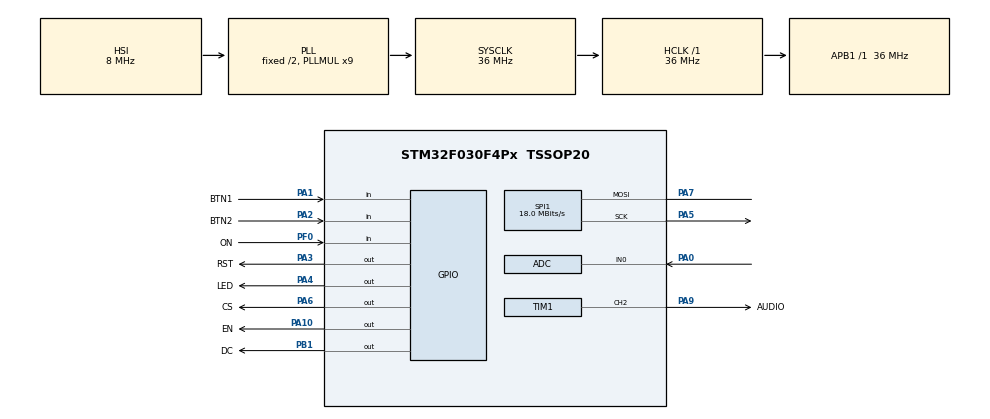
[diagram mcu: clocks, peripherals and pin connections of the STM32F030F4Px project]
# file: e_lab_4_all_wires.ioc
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Mcu.Family=STM32F0
Mcu.Name=STM32F030F4Px
Mcu.Package=TSSOP20
NVIC.TIM14_IRQn=true\:0\:0\:false\:false\:true\:true\:true\:true
NVIC.TIM16_IRQn=true\:0\:0\:false\:false\:true\:true\:true\:true
NVIC.TIM17_IRQn=true\:0\:0\:false\:false\:true\:true\:true\:true
NVIC.TIM3_IRQn=true\:0\:0\:false\:false\:true\:true\:true\:true
PA0.Mode=IN0
PA0.Signal=ADC_IN0
PA1.GPIO_Label=BTN1
PA1.Signal=GPIO_Input
PA10.GPIO_Label=EN
PA10.Signal=GPIO_Output
PA13.Mode=Serial_Wire
PA13.Signal=SYS_SWDIO
PA14.Mode=Serial_Wire
PA14.Signal=SYS_SWCLK
PA2.GPIO_Label=BTN2
PA2.Signal=GPIO_Input
PA3.GPIO_Label=RST
PA3.Signal=GPIO_Output
PA4.GPIO_Label=LED
PA4.Signal=GPIO_Output
PA5.Mode=Simplex_Bidirectional_Master
PA5.Signal=SPI1_SCK
PA6.GPIO_Label=CS
PA6.Signal=GPIO_Output
PA7.Mode=Simplex_Bidirectional_Master
PA7.Signal=SPI1_MOSI
PA9.GPIO_Label=AUDIO
PA9.Signal=S_TIM1_CH2
PB1.GPIO_Label=DC
PB1.Signal=GPIO_Output
PF0-OSC_IN.GPIO_Label=ON
PF0-OSC_IN.Signal=GPIO_Input
ProjectManager.HeapSize=0x200
ProjectManager.StackSize=0x400
ProjectManager.TargetToolchain=STM32CubeIDE
RCC.AHBFreq_Value=36000000
RCC.APB1Freq_Value=36000000
RCC.APB1TimFreq_Value=36000000
RCC.HCLKFreq_Value=36000000
RCC.PLLMUL=RCC_PLL_MUL9
RCC.SYSCLKFreq_VALUE=36000000
RCC.SYSCLKSource=RCC_SYSCLKSOURCE_PLLCLK
SH.S_TIM1_CH2.0=TIM1_CH2,PWM Generation2 CH2
SPI1.BaudRatePrescaler=SPI_BAUDRATEPRESCALER_2
SPI1.CalculateBaudRate=18.0 MBits/s
SPI1.DataSize=SPI_DATASIZE_8BIT
SPI1.Direction=SPI_DIRECTION_1LINE
SPI1.Mode=SPI_MODE_MASTER
SPI1.VirtualType=VM_MASTER
TIM1.Channel-PWM\ Generation2\ CH2=TIM_CHANNEL_2
TIM1.Period=10
TIM1.Prescaler=3199
TIM1.Pulse-PWM\ Generation2\ CH2=4
TIM14.Period=10
TIM14.Prescaler=3199
TIM16.Period=10000
TIM16.Prescaler=3199
TIM17.Period=1000
TIM17.Prescaler=3199
TIM3.Period=10000
TIM3.Prescaler=3199
VP_TIM14_VS_ClockSourceINT.Mode=Enable_Timer
VP_TIM16_VS_ClockSourceINT.Mode=Enable_Timer
VP_TIM17_VS_ClockSourceINT.Mode=Enable_Timer
VP_TIM1_VS_ClockSourceINT.Mode=Internal
VP_TIM3_VS_ClockSourceINT.Mode=Internal
board=custom

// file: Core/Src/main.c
/* USER CODE BEGIN Header */
/**
  ******************************************************************************
  * @file           : main.c
  * @brief          : Main program body
  ******************************************************************************
  * @attention
  *
  * Copyright (c) 2024 STMicroelectronics.
  * All rights reserved.
  *
  * This software is licensed under terms that can be found in the LICENSE file
  * in the root directory of this software component.
  * If no LICENSE file comes with this software, it is provided AS-IS.
  *
  ******************************************************************************
  */
/* USER CODE END Header */
#include "main.h"

/* USER CODE BEGIN Includes */

#include <stdbool.h>
#include "ILI9341_STM32_Driver.h"

#include "ILI9341_GFX.h"

/* USER CODE END Includes */

ADC_HandleTypeDef hadc;

SPI_HandleTypeDef hspi1;

TIM_HandleTypeDef htim1;
TIM_HandleTypeDef htim3;
TIM_HandleTypeDef htim14;
TIM_HandleTypeDef htim16;
TIM_HandleTypeDef htim17;

/* USER CODE BEGIN PV */
/* Private variables ---------------------------------------------------------*/

enum MainModes {WATCH, GAME};
enum ClockModes {NORMAL, SET_TIME, SET_ALARM};
enum Timeset {SET_MINUTES, SET_HOURS};
enum GameModes {START, GAMING, GAME_OVER, GAME_WIN};
/* USER CODE END PV */

void SystemClock_Config(void);
static void MX_GPIO_Init(void);
static void MX_SPI1_Init(void);
static void MX_ADC_Init(void);
static void MX_TIM1_Init(void);
static void MX_TIM3_Init(void);
static void MX_TIM14_Init(void);
static void MX_TIM16_Init(void);
static void MX_TIM17_Init(void);
/* USER CODE BEGIN PFP */
/* Private function prototypes -----------------------------------------------*/

/* USER CODE END PFP */

/* USER CODE BEGIN 0 */

// Set time defines
#define LOOP_LIMIT 4

// Boder defines
#define LEFT_BORDER 10
#define RIGHT_BORDER 230
#define TOP_BORDER 30
#define TOP_BORDER_HEIGHT 10

// Platform defines
#define PLATFORM_LINE 270
#define DEFAULT_PLATFORM_DIRECTION 7
#define PLATFORM_LINE_THICKNESS 1

// Block defines
#define TOP_ROW    60
#define BOTTOM_ROW 140
#define LEFT_COLUMN LEFT_BORDER
#define RIGHT_COLUMN RIGHT_BORDER

#define ROW_HEIGHT 20
#define COLUMN_WIDTH 44

#define N_ROWS ((BOTTOM_ROW - TOP_ROW) / ROW_HEIGHT)
#define N_COLS ((RIGHT_COLUMN - LEFT_COLUMN) / COLUMN_WIDTH)

#define BLOCK_LINE_THICKNESS 1
#define N_LEVELS 3

// Battery defines
uint16_t battery_thresholds[3] = {1986, 2020, 3000};
uint8_t battery_level;

// Game block states
bool block_states [N_LEVELS][N_COLS*N_ROWS] = {{1,1,1,1,1, 1,1,1,1,1, 1,1,1,1,1, 1,1,1,1,1},
											   {0,1,0,1,0, 1,1,1,1,1, 0,1,1,1,0, 0,0,1,0,0},
											   {1,0,0,0,1, 1,0,0,0,1, 1,1,0,1,1, 1,1,1,1,1}};
//bool block_states [N_LEVELS][N_COLS*N_ROWS] = {{0,0,0,0,0, 0,0,0,0,0, 0,1,0,0,0, 0,0,0,0,0},
//											   {0,1,0,0,0, 0,0,0,0,0, 0,0,0,0,0, 0,0,0,0,0},
//											   {1,0,0,0,0, 0,0,0,0,0, 0,0,0,0,0, 0,0,0,0,0}};
bool current_block_states [N_COLS*N_ROWS];

int RowColors [] = {YELLOW, CYAN, PINK, GREEN};

struct time current_time = {{1,1,1,1,1,1},{0, 0, 0, 0, 0, 0}};
struct time alarm_time = {{1,1,1,1,1,1}, {0, 0, 0, 0, 1, 0}};
struct time *time_to_set;

// Main state machine
uint8_t current_main_state;
uint8_t next_main_state;

// Button debouncing states
bool btn_1_is_debounced;
bool btn_2_is_debounced;

// Clock state machine
uint8_t current_clock_state;
uint8_t next_clock_state;

// Game state machine
uint8_t current_game_state;
uint8_t next_game_state;

// Set values state machine
uint8_t current_set_state;
uint8_t next_set_state;
uint8_t n_loops = 0;

// Blink things
bool blink = 0;

// Game ball
int16_t ball_position[2] = {120,160};
int8_t ball_direction[2] = {0,0};
uint8_t ball_size = 4;

// Platform
uint8_t platform_position = 100;
int8_t platform_direction = 0;
uint8_t platform_width = 40;
uint8_t platform_height = 10;
uint8_t previously_moved_right = 0;
uint8_t previously_moved_left = 0;

// Game variables
int8_t hp = 0;
uint16_t score = 0;
uint8_t level = 0;
bool ball_hit_something = 0;

uint8_t prev_battery_level = 0;
uint8_t new_battery_level = 0;

void process_battery(){
	  // Check battery status
	  HAL_ADC_Start(&hadc);
	  HAL_ADC_PollForConversion(&hadc, HAL_MAX_DELAY);
	  uint16_t battery_value = HAL_ADC_GetValue(&hadc);

	  // Find the correct battery level
	  new_battery_level = 0;
	  for(uint8_t i = 0; i < 3; i++){
		  if (battery_value > battery_thresholds[i]) new_battery_level++;
	  }

	  // Print the new battery level
	  if(prev_battery_level != new_battery_level && current_main_state == WATCH){ // WATCH MODE
		  draw_battery();
	  }
	  prev_battery_level = new_battery_level;
}

void draw_battery(){
	ILI9341_Draw_Filled_Rectangle_Coord(250, 20, 275, 30, WHITE);
	ILI9341_Draw_Filled_Rectangle_Coord(275, 23, 278, 28, WHITE);

	if(new_battery_level == 0){
	  ILI9341_Draw_Filled_Rectangle_Coord(252, 22, 273, 28, BLACK);
	}
	else if(new_battery_level == 1){
	  ILI9341_Draw_Filled_Rectangle_Coord(259, 22, 273, 28, BLACK);
	}
	else if(new_battery_level == 2){
	  ILI9341_Draw_Filled_Rectangle_Coord(266, 22, 273, 28, BLACK);
	}
	else{
	  ILI9341_Draw_Filled_Rectangle_Coord(252, 22, 273, 28, GREEN);
	}
	}

void draw_hp(){
	ILI9341_Draw_Text("HP", 5, 2 , BLACK, 2, BLUE);
	char hp_c = hp + '0';
	ILI9341_Draw_Char(hp_c, 40, 2, BLACK, 2, BLUE);
}

void draw_score(uint8_t x, uint8_t y){
	ILI9341_Draw_Text("SCORE", x, y, BLACK, 2, BLUE);
	char score_c[5];
	score_c[3] = '0';
	score_c[2] = '0';
	score_c[1] = score % 10 + '0';
	score_c[0] = score / 10 + '0';
	score_c[4] = 0;
	ILI9341_Draw_Text(score_c, x+65, y , BLACK, 2, BLUE);
}

void copy_level(int level){
	for(uint8_t i = 0; i < N_ROWS * N_COLS; i++)
	{
		current_block_states[i] = block_states[level][i];
	}
}

void draw_block(int index, bool draw){
	volatile uint8_t position_x, position_y;
	uint8_t row_i = index / N_COLS;
	position_x= (index % N_COLS) * COLUMN_WIDTH + LEFT_COLUMN;
	position_y = (index / N_COLS) * ROW_HEIGHT + TOP_ROW;

	ILI9341_Draw_Filled_Rectangle_Coord(position_x, position_y,
			position_x + COLUMN_WIDTH, position_y + ROW_HEIGHT, (!draw) ? BLACK : BLUE);

	ILI9341_Draw_Filled_Rectangle_Coord(position_x + PLATFORM_LINE_THICKNESS, position_y + PLATFORM_LINE_THICKNESS,
			position_x + COLUMN_WIDTH - PLATFORM_LINE_THICKNESS, position_y + ROW_HEIGHT - PLATFORM_LINE_THICKNESS,  (!draw) ? RowColors[row_i] : BLUE );
}

void draw_blocks(){
	for(int i = 0; i < N_ROWS * N_COLS; i++){
			if(current_block_states[i]) draw_block(i, 0);
	}
}

void draw_set_time(bool draw){
	// Prit messages to set time and alarm
	if(draw){
		ILI9341_Draw_Text("Set time", 5, 5, WHITE, 2, BLACK);
	}
	else{
		ILI9341_Draw_Filled_Rectangle_Coord(0, 0, 106, 26, BLACK);
	}

}

void draw_set_alarm(bool draw){
	if(draw){
		ILI9341_Draw_Text("Set alarm", 5, 220, WHITE, 2, BLACK);
	}
	else{
		ILI9341_Draw_Filled_Rectangle_Coord(0, 214,  121,  240,  BLACK);
	}

}

void start_ball(){
	// Delete the previous ball position
	ILI9341_Draw_Filled_Circle(ball_position[0], ball_position[1], ball_size, BLUE);

	ball_position[0] = 120;
	ball_position[1] = 160;

	ball_direction[0] = 0;
	ball_direction[1] = 7;

	ILI9341_Draw_Filled_Circle(ball_position[0], ball_position[1], ball_size, RED);
}

void draw_top_borders(){
	ILI9341_Draw_Filled_Rectangle_Coord(0, 0, LEFT_BORDER, 320, BLACK);
	ILI9341_Draw_Filled_Rectangle_Coord(10, 0, 240, 10, BLACK);
	ILI9341_Draw_Filled_Rectangle_Coord(RIGHT_BORDER, 10, 240, 320, BLACK);
	ILI9341_Draw_Filled_Rectangle_Coord(0, 0, LEFT_BORDER-2, 320, DARKGREY);
	ILI9341_Draw_Filled_Rectangle_Coord(10, 0, 240, 10-2, DARKGREY);
	ILI9341_Draw_Filled_Rectangle_Coord(RIGHT_BORDER+2, 10, 240, 320, DARKGREY);
}

void draw_game_borders(){
	ILI9341_Draw_Filled_Rectangle_Coord(0, TOP_BORDER - TOP_BORDER_HEIGHT - 1, LEFT_BORDER, 320, BLACK);
	ILI9341_Draw_Filled_Rectangle_Coord(10, TOP_BORDER - TOP_BORDER_HEIGHT - 1, 240, TOP_BORDER, BLACK);
	ILI9341_Draw_Filled_Rectangle_Coord(RIGHT_BORDER, TOP_BORDER - TOP_BORDER_HEIGHT, 240, 320, BLACK);
	ILI9341_Draw_Filled_Rectangle_Coord(0, TOP_BORDER - TOP_BORDER_HEIGHT, LEFT_BORDER -1, 320, DARKGREY);
	ILI9341_Draw_Filled_Rectangle_Coord(10, TOP_BORDER - TOP_BORDER_HEIGHT, 240, TOP_BORDER-1, DARKGREY);
	ILI9341_Draw_Filled_Rectangle_Coord(RIGHT_BORDER+1, TOP_BORDER - TOP_BORDER_HEIGHT, 240, 320, DARKGREY);
}

void move_ball(){

	// Delete a bug ball
	ILI9341_Draw_Filled_Circle(120, 160, ball_size, BLUE);

	uint16_t prev_ball_position [2];
	prev_ball_position[0] = ball_position[0];
	prev_ball_position[1] = ball_position[1];

	ball_position[0] += ball_direction[0];
	ball_position[1] += ball_direction[1];

	// Move ball
	if((ball_position[0] != prev_ball_position[0]) || (ball_position[1] != prev_ball_position[1])){
		// Check if the ball has hit the ceiling and reverse the direction
		if(ball_position[1] - ball_size + ball_direction[1] <= TOP_BORDER){
			ball_direction[0] = ball_direction[0];
			ball_direction[1] = -ball_direction[1];
			ball_hit_something = 1;
		}
		// Check if the ball hit the platform and reverse the direction
		else if((ball_position[1] + ball_size + ball_direction[1] >= PLATFORM_LINE - platform_height / 2) &&
				(ball_position[1] + ball_size + ball_direction[1] < PLATFORM_LINE + platform_height / 2) &&
				(ball_position[0] >= platform_position - platform_width / 2 - ball_size - ball_direction[0] - platform_height &&
			    (ball_position[0] <= platform_position + platform_width / 2 + ball_size + ball_direction[0] + platform_height)))
		{
			ball_direction[0] = ball_direction[0];
			ball_direction[1] = -ball_direction[1];

			// Check if the platform is moving
			if(HAL_GPIO_ReadPin(GPIOA, BTN1_Pin) == 0){
				ball_direction[0] += platform_direction / 2;
			}
			else if(HAL_GPIO_ReadPin(GPIOA, BTN2_Pin) == 0){
				ball_direction[0] -= platform_direction / 2;
			}
			ball_hit_something = 1;
		}
		// Check if the ball hit the right side
		else if(ball_position[0] + ball_size + ball_direction[0] >= RIGHT_BORDER){
			ball_direction[0] = -ball_direction[0];
			ball_direction[1] = ball_direction[1];
			ball_hit_something = 1;
		}
		// Check if the ball hit the left side
		else if(ball_position[0] - ball_size + ball_direction[0] <= LEFT_BORDER){
			ball_direction[0] = -ball_direction[0];
			ball_direction[1] = ball_direction[1];
			ball_hit_something = 1;
		}

		else if(ball_position[1] > 320){ // Ball is out of bounds
			start_ball();
			hp--;
			draw_hp();
			start_platform();
			}
		}
		// Delete previous ball
		ILI9341_Draw_Filled_Circle(prev_ball_position[0], prev_ball_position[1], ball_size, BLUE);
		// Draw new ball
		ILI9341_Draw_Filled_Circle(ball_position[0], ball_position[1], ball_size, RED);

		// Check collissions with all the blocks
		for(uint8_t i = 0; i < N_COLS * N_ROWS; i++){
			if(current_block_states[i]){
				uint8_t position_x, position_y;
				position_x = (i % N_COLS) * COLUMN_WIDTH + LEFT_COLUMN;
				position_y = (i / N_COLS) * ROW_HEIGHT + TOP_ROW;

				// Check collision
				if((ball_position[1] + ball_size + ball_direction[1] <= position_y + ROW_HEIGHT) &&
				  (ball_position[1] + ball_size + ball_direction[1] > position_y) &&
				  (ball_position[0] >= position_x - ball_size - ball_direction[0]) &&
				  (ball_position[0] <= position_x + COLUMN_WIDTH + ball_size + ball_direction[0])){
					current_block_states[i] = 0;
					draw_block(i, 1);
					draw_blocks();
					draw_game_borders();
					// Side collisions
					if((ball_position[0] >= position_y)||(ball_position[0] <= position_y + ROW_HEIGHT)) {
						ball_direction[1] = -ball_direction[1];
					}
					else{ // Top and bottom collisions
						ball_direction[0] = -ball_direction[0];
					}
					ball_hit_something = 1;
				score++;
				draw_score(125,2);
			}
		}
	}
}

void start_platform(){
	// Delete the previous platform position
	ILI9341_Draw_Filled_Rectangle_Coord(
			platform_position - platform_width / 2,
			PLATFORM_LINE - platform_height / 2,
			platform_position + platform_width / 2,
			PLATFORM_LINE + platform_height / 2, BLUE);

	platform_position = (RIGHT_BORDER + LEFT_BORDER) / 2;
	platform_direction = DEFAULT_PLATFORM_DIRECTION;
	ILI9341_Draw_Filled_Rectangle_Coord(
			platform_position - platform_width / 2,
			PLATFORM_LINE - platform_height / 2,
			platform_position + platform_width / 2,
			PLATFORM_LINE + platform_height / 2, BLACK);

	ILI9341_Draw_Filled_Rectangle_Coord(
			platform_position - platform_width / 2 + PLATFORM_LINE_THICKNESS,
			PLATFORM_LINE -  platform_height / 2 + PLATFORM_LINE_THICKNESS,
			platform_position + platform_width / 2 - PLATFORM_LINE_THICKNESS,
			PLATFORM_LINE + platform_height / 2- PLATFORM_LINE_THICKNESS , DARKGREY);
}

void move_platform(){
	int prev_platform_position = platform_position;
	if(HAL_GPIO_ReadPin(GPIOA, BTN1_Pin) == 0){
		if(previously_moved_left){
			previously_moved_left = 0;
			platform_direction = DEFAULT_PLATFORM_DIRECTION;
		}
		platform_position += platform_direction;
		previously_moved_right = 1;
		if(previously_moved_right){
			platform_direction += 2;
		}

	}
	else if(HAL_GPIO_ReadPin(GPIOA, BTN2_Pin) == 0){
		if(previously_moved_right){
			previously_moved_right = 0;
			platform_direction = DEFAULT_PLATFORM_DIRECTION;
		}
		platform_position -= platform_direction;
		previously_moved_left = 1;
		if(previously_moved_left){
			platform_direction += 2;
		}
	}
	else{
		platform_direction = DEFAULT_PLATFORM_DIRECTION;
		previously_moved_right = 0;
		previously_moved_left = 0;

	}

	if(prev_platform_position != platform_position){
		// Check that it has not gone out of bounds
		if(platform_position + platform_width / 2 >= RIGHT_BORDER){
			platform_position = RIGHT_BORDER - platform_width / 2;
		}
		else if(platform_position - platform_width / 2 <= LEFT_BORDER){
			platform_position = LEFT_BORDER + platform_width / 2;
		}

		// Move
		ILI9341_Draw_Filled_Rectangle_Coord(
						prev_platform_position - platform_width / 2,
						PLATFORM_LINE - platform_height / 2,
						prev_platform_position + platform_width / 2,
						PLATFORM_LINE + platform_height / 2, BLUE);

		ILI9341_Draw_Filled_Rectangle_Coord(
							platform_position - platform_width / 2,
							PLATFORM_LINE - platform_height / 2,
							platform_position + platform_width / 2,
							PLATFORM_LINE + platform_height / 2, BLACK);

		ILI9341_Draw_Filled_Rectangle_Coord(
			platform_position - platform_width / 2 + PLATFORM_LINE_THICKNESS,
			PLATFORM_LINE -  platform_height / 2 + PLATFORM_LINE_THICKNESS,
			platform_position + platform_width / 2 - PLATFORM_LINE_THICKNESS,
			PLATFORM_LINE + platform_height / 2- PLATFORM_LINE_THICKNESS , DARKGREY);
	}
}

void draw_msg(){
	char msg[] = "Press button";
	ILI9341_Draw_Text(msg, 45, 255, BLACK, 2, BLUE);
}

void delete_msg(){
	ILI9341_Draw_Filled_Rectangle_Coord(40, 250, 200, 280, BLUE);
}

void prepare_start(char title[10]){
	ILI9341_Set_Rotation(SCREEN_VERTICAL_2);
	ILI9341_Fill_Screen(BLUE);

	draw_top_borders();

	// Draw platform
	platform_position = (RIGHT_BORDER + LEFT_BORDER) / 2;
	ILI9341_Draw_Filled_Rectangle_Coord(
			platform_position - platform_width / 2,
			PLATFORM_LINE - 100 - platform_height / 2,
			platform_position + platform_width / 2,
			PLATFORM_LINE - 100 + platform_height / 2, BLACK);
	ILI9341_Draw_Filled_Rectangle_Coord(
				platform_position - platform_width / 2 + PLATFORM_LINE_THICKNESS,
				PLATFORM_LINE - 100 - platform_height / 2 + PLATFORM_LINE_THICKNESS,
				platform_position + platform_width / 2 - PLATFORM_LINE_THICKNESS,
				PLATFORM_LINE - 100 + platform_height / 2- PLATFORM_LINE_THICKNESS , DARKGREY);

	// Draw ball
	ILI9341_Draw_Filled_Circle(120, 160, ball_size, RED);

	// Draw title message
	if(title[0] == 'G'){
		ILI9341_Draw_Text("GAME", 70, 30, BLACK, 4, BLUE);
		ILI9341_Draw_Text("OVER", 70, 70, BLACK, 4, BLUE);
	}
	else{
	ILI9341_Draw_Text(title, 25, 40, BLACK, 4, BLUE);
	}
	// Draw start message
	draw_msg();
}

void prepare_game(){
	// Delete title
	ILI9341_Fill_Screen(BLUE);

	// Draw borders
	draw_game_borders();

	// Start ball
	start_ball();

	// Start platform
	start_platform();
}

void prepare_watch(struct time * current_time){
	ILI9341_Set_Rotation(SCREEN_HORIZONTAL_2);
	ILI9341_Fill_Screen(BLACK);
	// Print minute and hour separator
	ILI9341_Draw_Char(':', 150, 70, WHITE, 8, BLACK);
	raise_flags(current_time);
}

void draw_min_rectangles(bool draw){
	// Draw rectangle below and above minutes
	ILI9341_Draw_Filled_Rectangle_Coord(170, 140, 280, 145, draw ? WHITE : BLACK);
	ILI9341_Draw_Filled_Rectangle_Coord(170, 65, 280, 70, draw ? WHITE : BLACK);
}

int compare_times(struct time * time1, struct time * time2){
	bool are_equal = 1;
	for(uint8_t i = 0; i < 6; i++){
		if(time1->values[i] != time2->values[i]){
			are_equal = 0;
		}
	}
	return are_equal;
}

void draw_hour_rectangles(bool draw){
	// Draw new rectangles above hours
	ILI9341_Draw_Filled_Rectangle_Coord(30, 140, 140, 145, draw ? WHITE : BLACK);
	ILI9341_Draw_Filled_Rectangle_Coord(30, 65, 140, 70, draw ? WHITE : BLACK);
}

uint8_t positions[3][6] = {{250, 210, 230, 170, 90, 30}, {170, 170, 60, 60, 60, 60}, {7,7,10,10,10,10}};
void update_watch(struct time* current_time){
	for(uint8_t i = 0; i < 6; i++){
		if(current_time->change_flag[i]){
			ILI9341_Draw_Char(current_time->values[i] + '0', positions[0][i], positions[1][i], WHITE, positions[2][i], BLACK);
			if((i == 2 || i == 3) && current_clock_state != NORMAL)
				draw_min_rectangles(1);
			else if((i == 4 || i == 5) && current_clock_state != NORMAL)
				draw_hour_rectangles(1);
			current_time->change_flag[i] = 0;
		}
	}
}

void raise_flags(struct time* current_time){
	for(uint8_t i = 0; i < 6; i++){
		current_time->change_flag[i] = 1;
	}
}

uint8_t time_limits[5] = {10, 6, 10, 6, 10};
void increase_time(struct time *current_time, int position){
	// Increase the position
	current_time->values[position*2]++;
	current_time->change_flag[position*2] = 1;

	for(uint8_t i = 0; i < 5; i++){
		if(current_time->values[i] == time_limits[i]){
			current_time->values[i] = 0;
			current_time->values[i+1]++;
			current_time->change_flag[i+1] = 1;
			process_battery();
		}
	}
	if(current_time->values[5] == 2 && current_time->values[4]== 4){
	  for(uint8_t i = 0; i < 6; i++){
		  current_time->values[i] = 0;
	  }
	  current_time->change_flag[4] = 1;
	  current_time->change_flag[5] = 1;
	}
	HAL_GPIO_TogglePin(GPIOA, LED_Pin);
}

void decrease_time(struct time* current_time, volatile int position){
	current_time->values[position*2]--;
	current_time->change_flag[position*2] = 1;
	for(uint8_t i = 0; i < 3; i++){
		if(current_time->values[i*2] == -1){
			current_time->values[i*2+1]--;
			current_time->change_flag[i*2+1] = 1;
			current_time->values[i*2] = 9;
			if(current_time->values[i*2+1] == -1){
				current_time->values[i*2] = 0;
				current_time->values[i*2+1] = 0;
				current_time->change_flag[i*2] = 0;
				current_time->change_flag[i*2+1] = 0;
			}
		}
	}
}

void small_buzz(){
	HAL_GPIO_WritePin(GPIOA, EN_Pin, GPIO_PIN_SET);
	HAL_TIM_PWM_Start(&htim1, TIM_CHANNEL_2);
	HAL_Delay(50);
	HAL_TIM_PWM_Stop(&htim1, TIM_CHANNEL_2);
	HAL_GPIO_WritePin(GPIOA, EN_Pin, GPIO_PIN_RESET);
}
/* USER CODE END 0 */

int main(void)
{

  /* MCU Configuration--------------------------------------------------------*/

  /* Reset of all peripherals, Initializes the Flash interface and the Systick. */
  HAL_Init();

  /* Configure the system clock */
  SystemClock_Config();

  /* Initialize all configured peripherals */
  MX_GPIO_Init();
  MX_SPI1_Init();
  MX_ADC_Init();
  MX_TIM1_Init();
  MX_TIM3_Init();
  MX_TIM14_Init();
  MX_TIM16_Init();
  MX_TIM17_Init();
  /* USER CODE BEGIN 2 */
  bool mode_switch;

  // Blinking control
  bool appear = 0;

  ILI9341_Init();//initial driver setup to drive ili9341

  HAL_TIM_Base_Start_IT(&htim3); // Start the clock timer
  HAL_TIM_Base_Start_IT(&htim14); // Start the debouncing timer

  /* USER CODE END 2 */

  /* Infinite loop */
  /* USER CODE BEGIN WHILE */
  current_main_state = WATCH;
  current_clock_state = NORMAL;
  current_set_state = SET_MINUTES;
  prepare_watch(&current_time);
  process_battery();
  while (1)
  {
    /* USER CODE END WHILE */

    /* USER CODE BEGIN 3 */
	// Read mode
	mode_switch = HAL_GPIO_ReadPin(GPIOF, ON_Pin);

	// Alarm function
	if(compare_times(&current_time, &alarm_time)){
		 HAL_TIM_Base_Start_IT(&htim16);  // Start the blinking timer
		 appear = 1;
		 while(1){
			 if(blink){
				if(appear){
					HAL_GPIO_WritePin(GPIOA, EN_Pin, GPIO_PIN_SET);
					HAL_TIM_PWM_Start(&htim1, TIM_CHANNEL_2);
				}
				else{
					HAL_TIM_PWM_Stop(&htim1, TIM_CHANNEL_2);
					HAL_GPIO_WritePin(GPIOA, EN_Pin, GPIO_PIN_RESET);
				}
				appear = !appear;
				blink = 0;
			 }

			 if(btn_1_is_debounced || btn_2_is_debounced){
				 HAL_TIM_PWM_Stop(&htim1, TIM_CHANNEL_2);
			     HAL_GPIO_WritePin(GPIOA, EN_Pin, GPIO_PIN_RESET);
			     HAL_TIM_Base_Stop_IT(&htim16);  // Stop the blinking timer
			     btn_1_is_debounced = 0;
			     btn_2_is_debounced = 0;
				 break;
			 }
		 }
	}

	// Main state machine
	next_main_state = current_main_state;
	switch(current_main_state){
	case WATCH:
		update_watch(&current_time);
		// Clock state machine
		next_clock_state = current_clock_state;
		switch(current_clock_state){
		case NORMAL:
			if (btn_1_is_debounced || btn_2_is_debounced){
				HAL_TIM_Base_Stop_IT(&htim3);   // Stop counting time
				HAL_TIM_Base_Start_IT(&htim16); // Start the blinking timer
				appear = 1;
				if(btn_1_is_debounced){
					time_to_set = &current_time;
					next_clock_state = SET_TIME;
					btn_1_is_debounced = 0;
				}
				else{
					time_to_set = &alarm_time;
					next_clock_state = SET_ALARM;
					raise_flags(&alarm_time);
					update_watch(&alarm_time);
					draw_hour_rectangles(0);
					btn_2_is_debounced = 0;
				}
			}
		break;

		case SET_ALARM:
			update_watch(&alarm_time);
		case SET_TIME:
			next_set_state = current_set_state;
			// Blinking effect
			if(blink){
				if(current_clock_state == SET_TIME)
					draw_set_time(appear);
				else
					draw_set_alarm(appear);

				if(current_set_state == SET_MINUTES)
					draw_min_rectangles(appear);
				else
					draw_hour_rectangles(appear);

				appear = !appear;
				n_loops++;
				blink = 0;
			}
			switch(current_set_state){
			case SET_MINUTES:
			case SET_HOURS:
				// Increase values when btn1 is pressed
				if(btn_1_is_debounced){
					increase_time(time_to_set, current_set_state + 1);
					n_loops = 0;
					btn_1_is_debounced = 0;
				}
				// Decrease values when btn2 is pressed
				if(btn_2_is_debounced){
					decrease_time(time_to_set, current_set_state + 1);
					n_loops = 0;
					btn_2_is_debounced = 0;
				}
				// State transition
				if(n_loops > LOOP_LIMIT+1){
					n_loops = 0;
					if(current_set_state == SET_MINUTES){
						next_set_state = SET_HOURS;
						draw_hour_rectangles(1);
						draw_min_rectangles(0);
					}
					else{
						next_clock_state = NORMAL;
						next_set_state = SET_MINUTES;
						HAL_TIM_Base_Start_IT(&htim3);   // Start counting time
						HAL_TIM_Base_Stop_IT(&htim16);   // Stop the blinking timer
						raise_flags(&current_time);
						update_watch(&current_time);
						draw_min_rectangles(0);
						draw_hour_rectangles(0);
						draw_set_time(0);
						draw_set_alarm(0);
					}
				}
				break;
			}
			current_set_state = next_set_state;
		break;
		}
		current_clock_state = next_clock_state;

		// State transition
		if (mode_switch == 1){
			next_main_state = GAME;
			current_game_state = START;
			// Prepare game
			prepare_start("ARKANOID");
			HAL_TIM_Base_Stop_IT(&htim14);   // Stop button debounce timer
			HAL_TIM_Base_Start_IT(&htim16);  // Start the blinking timer
			btn_1_is_debounced = 0; // Reset buttons
			btn_2_is_debounced = 0;
			appear = 1;
		}
	break;

	case GAME:
		// Game state machine
		next_game_state = current_game_state;
		switch(current_game_state){
		case START:
		case GAME_OVER:
		case GAME_WIN:
			if(blink){
				if(appear){
					draw_msg();
				}
				else{
					delete_msg();
				}
				appear = !appear;
				blink = 0;
			}
			if((HAL_GPIO_ReadPin(GPIOA, BTN1_Pin) == 0) || (HAL_GPIO_ReadPin(GPIOA, BTN2_Pin) == 0)){
				next_game_state = GAMING;
				small_buzz(); // Do it before the game starts
				HAL_TIM_Base_Start_IT(&htim17);   // Start the game timer
				HAL_TIM_Base_Stop_IT(&htim16);    // Stop the blinking timer

				hp = 3;
				score = 0;
				level = 0;
				delete_msg();
				prepare_game();
				draw_hp();
				draw_score(125, 2);
				copy_level(level);
				draw_blocks();

				btn_1_is_debounced = 0;
				btn_2_is_debounced = 0;

			}

			break;
		case GAMING:
			// Check if the level is over
			bool level_over = 1;
			for(int i = 0; i < N_COLS*N_ROWS; i++){
				if(current_block_states[i]) level_over = 0;
			}
			if(ball_hit_something){
				ball_hit_something = 0;
				small_buzz();
			}
			if(level_over){
				level++;
				start_ball();
				start_platform();

				if(level == 3){
					next_game_state = GAME_WIN;
					HAL_TIM_Base_Stop_IT(&htim17);   // Stop the game timer
					HAL_TIM_Base_Start_IT(&htim16);  // Start the blinking timer

					prepare_start("YOU WIN!");
					btn_1_is_debounced = 0; // Reset buttons
					btn_2_is_debounced = 0;
					draw_score(60, 200);
					appear = 1;
				}
				else{
					// 1 second delay
					HAL_TIM_Base_Stop_IT(&htim17);
					HAL_Delay(1000);
					copy_level(level);
					draw_blocks();
					HAL_TIM_Base_Start_IT(&htim17);
				}
			}
			if(hp < 0){
				next_game_state = GAME_OVER;
				HAL_TIM_Base_Stop_IT(&htim17);   // Stop the game timer
				HAL_TIM_Base_Start_IT(&htim16);  // Start the blinking timer

				prepare_start("GAME OVER");
				btn_1_is_debounced = 0; // Reset buttons
				btn_2_is_debounced = 0;
				draw_score(60, 200);
				appear = 1;
			}
			break;
		}
		current_game_state = next_game_state;

		// State transition
		if(mode_switch == 0 && btn_1_is_debounced == 0 && btn_2_is_debounced == 0){
			next_main_state = WATCH;
			next_clock_state = NORMAL;

			// Prepare watch
			prepare_watch(&current_time);

			HAL_TIM_Base_Stop_IT(&htim17);    // Stop the game timer
			HAL_TIM_Base_Stop_IT(&htim16);    // Stop the blinking timer
			HAL_TIM_Base_Start_IT(&htim14);   // Start the button debounce timer

			draw_battery();
		}
		break;

	}
	current_main_state = next_main_state;
  }
  /* USER CODE END 3 */
}

void SystemClock_Config(void)
{
  RCC_OscInitTypeDef RCC_OscInitStruct = {0};
  RCC_ClkInitTypeDef RCC_ClkInitStruct = {0};

  /** Initializes the RCC Oscillators according to the specified parameters
  * in the RCC_OscInitTypeDef structure.
  */
  RCC_OscInitStruct.OscillatorType = RCC_OSCILLATORTYPE_HSI|RCC_OSCILLATORTYPE_HSI14;
  RCC_OscInitStruct.HSIState = RCC_HSI_ON;
  RCC_OscInitStruct.HSI14State = RCC_HSI14_ON;
  RCC_OscInitStruct.HSICalibrationValue = RCC_HSICALIBRATION_DEFAULT;
  RCC_OscInitStruct.HSI14CalibrationValue = 16;
  RCC_OscInitStruct.PLL.PLLState = RCC_PLL_ON;
  RCC_OscInitStruct.PLL.PLLSource = RCC_PLLSOURCE_HSI;
  RCC_OscInitStruct.PLL.PLLMUL = RCC_PLL_MUL9;
  RCC_OscInitStruct.PLL.PREDIV = RCC_PREDIV_DIV1;
  if (HAL_RCC_OscConfig(&RCC_OscInitStruct) != HAL_OK)
  {
    Error_Handler();
  }

  /** Initializes the CPU, AHB and APB buses clocks
  */
  RCC_ClkInitStruct.ClockType = RCC_CLOCKTYPE_HCLK|RCC_CLOCKTYPE_SYSCLK
                              |RCC_CLOCKTYPE_PCLK1;
  RCC_ClkInitStruct.SYSCLKSource = RCC_SYSCLKSOURCE_PLLCLK;
  RCC_ClkInitStruct.AHBCLKDivider = RCC_SYSCLK_DIV1;
  RCC_ClkInitStruct.APB1CLKDivider = RCC_HCLK_DIV1;

  if (HAL_RCC_ClockConfig(&RCC_ClkInitStruct, FLASH_LATENCY_1) != HAL_OK)
  {
    Error_Handler();
  }
}

static void MX_ADC_Init(void)
{

  ADC_ChannelConfTypeDef sConfig = {0};

  /** Configure the global features of the ADC (Clock, Resolution, Data Alignment and number of conversion)
  */
  hadc.Instance = ADC1;
  hadc.Init.ClockPrescaler = ADC_CLOCK_ASYNC_DIV1;
  hadc.Init.Resolution = ADC_RESOLUTION_12B;
  hadc.Init.DataAlign = ADC_DATAALIGN_RIGHT;
  hadc.Init.ScanConvMode = ADC_SCAN_DIRECTION_FORWARD;
  hadc.Init.EOCSelection = ADC_EOC_SINGLE_CONV;
  hadc.Init.LowPowerAutoWait = DISABLE;
  hadc.Init.LowPowerAutoPowerOff = DISABLE;
  hadc.Init.ContinuousConvMode = DISABLE;
  hadc.Init.DiscontinuousConvMode = DISABLE;
  hadc.Init.ExternalTrigConv = ADC_SOFTWARE_START;
  hadc.Init.ExternalTrigConvEdge = ADC_EXTERNALTRIGCONVEDGE_NONE;
  hadc.Init.DMAContinuousRequests = DISABLE;
  hadc.Init.Overrun = ADC_OVR_DATA_PRESERVED;
  if (HAL_ADC_Init(&hadc) != HAL_OK)
  {
    Error_Handler();
  }

  /** Configure for the selected ADC regular channel to be converted.
  */
  sConfig.Channel = ADC_CHANNEL_0;
  sConfig.Rank = ADC_RANK_CHANNEL_NUMBER;
  sConfig.SamplingTime = ADC_SAMPLETIME_1CYCLE_5;
  if (HAL_ADC_ConfigChannel(&hadc, &sConfig) != HAL_OK)
  {
    Error_Handler();
  }

}

static void MX_SPI1_Init(void)
{

  /* SPI1 parameter configuration*/
  hspi1.Instance = SPI1;
  hspi1.Init.Mode = SPI_MODE_MASTER;
  hspi1.Init.Direction = SPI_DIRECTION_1LINE;
  hspi1.Init.DataSize = SPI_DATASIZE_8BIT;
  hspi1.Init.CLKPolarity = SPI_POLARITY_LOW;
  hspi1.Init.CLKPhase = SPI_PHASE_1EDGE;
  hspi1.Init.NSS = SPI_NSS_SOFT;
  hspi1.Init.BaudRatePrescaler = SPI_BAUDRATEPRESCALER_2;
  hspi1.Init.FirstBit = SPI_FIRSTBIT_MSB;
  hspi1.Init.TIMode = SPI_TIMODE_DISABLE;
  hspi1.Init.CRCCalculation = SPI_CRCCALCULATION_DISABLE;
  hspi1.Init.CRCPolynomial = 7;
  hspi1.Init.CRCLength = SPI_CRC_LENGTH_DATASIZE;
  hspi1.Init.NSSPMode = SPI_NSS_PULSE_ENABLE;
  if (HAL_SPI_Init(&hspi1) != HAL_OK)
  {
    Error_Handler();
  }

}

static void MX_TIM1_Init(void)
{

  TIM_ClockConfigTypeDef sClockSourceConfig = {0};
  TIM_MasterConfigTypeDef sMasterConfig = {0};
  TIM_OC_InitTypeDef sConfigOC = {0};
  TIM_BreakDeadTimeConfigTypeDef sBreakDeadTimeConfig = {0};

  htim1.Instance = TIM1;
  htim1.Init.Prescaler = 3199;
  htim1.Init.CounterMode = TIM_COUNTERMODE_UP;
  htim1.Init.Period = 10;
  htim1.Init.ClockDivision = TIM_CLOCKDIVISION_DIV1;
  htim1.Init.RepetitionCounter = 0;
  htim1.Init.AutoReloadPreload = TIM_AUTORELOAD_PRELOAD_DISABLE;
  if (HAL_TIM_Base_Init(&htim1) != HAL_OK)
  {
    Error_Handler();
  }
  sClockSourceConfig.ClockSource = TIM_CLOCKSOURCE_INTERNAL;
  if (HAL_TIM_ConfigClockSource(&htim1, &sClockSourceConfig) != HAL_OK)
  {
    Error_Handler();
  }
  if (HAL_TIM_PWM_Init(&htim1) != HAL_OK)
  {
    Error_Handler();
  }
  sMasterConfig.MasterOutputTrigger = TIM_TRGO_RESET;
  sMasterConfig.MasterSlaveMode = TIM_MASTERSLAVEMODE_DISABLE;
  if (HAL_TIMEx_MasterConfigSynchronization(&htim1, &sMasterConfig) != HAL_OK)
  {
    Error_Handler();
  }
  sConfigOC.OCMode = TIM_OCMODE_PWM1;
  sConfigOC.Pulse = 4;
  sConfigOC.OCPolarity = TIM_OCPOLARITY_HIGH;
  sConfigOC.OCNPolarity = TIM_OCNPOLARITY_HIGH;
  sConfigOC.OCFastMode = TIM_OCFAST_DISABLE;
  sConfigOC.OCIdleState = TIM_OCIDLESTATE_RESET;
  sConfigOC.OCNIdleState = TIM_OCNIDLESTATE_RESET;
  if (HAL_TIM_PWM_ConfigChannel(&htim1, &sConfigOC, TIM_CHANNEL_2) != HAL_OK)
  {
    Error_Handler();
  }
  sBreakDeadTimeConfig.OffStateRunMode = TIM_OSSR_DISABLE;
  sBreakDeadTimeConfig.OffStateIDLEMode = TIM_OSSI_DISABLE;
  sBreakDeadTimeConfig.LockLevel = TIM_LOCKLEVEL_OFF;
  sBreakDeadTimeConfig.DeadTime = 0;
  sBreakDeadTimeConfig.BreakState = TIM_BREAK_DISABLE;
  sBreakDeadTimeConfig.BreakPolarity = TIM_BREAKPOLARITY_HIGH;
  sBreakDeadTimeConfig.AutomaticOutput = TIM_AUTOMATICOUTPUT_DISABLE;
  if (HAL_TIMEx_ConfigBreakDeadTime(&htim1, &sBreakDeadTimeConfig) != HAL_OK)
  {
    Error_Handler();
  }
  HAL_TIM_MspPostInit(&htim1);

}

static void MX_TIM3_Init(void)
{

  TIM_ClockConfigTypeDef sClockSourceConfig = {0};
  TIM_MasterConfigTypeDef sMasterConfig = {0};

  htim3.Instance = TIM3;
  htim3.Init.Prescaler = 3199;
  htim3.Init.CounterMode = TIM_COUNTERMODE_UP;
  htim3.Init.Period = 10000;
  htim3.Init.ClockDivision = TIM_CLOCKDIVISION_DIV1;
  htim3.Init.AutoReloadPreload = TIM_AUTORELOAD_PRELOAD_DISABLE;
  if (HAL_TIM_Base_Init(&htim3) != HAL_OK)
  {
    Error_Handler();
  }
  sClockSourceConfig.ClockSource = TIM_CLOCKSOURCE_INTERNAL;
  if (HAL_TIM_ConfigClockSource(&htim3, &sClockSourceConfig) != HAL_OK)
  {
    Error_Handler();
  }
  sMasterConfig.MasterOutputTrigger = TIM_TRGO_RESET;
  sMasterConfig.MasterSlaveMode = TIM_MASTERSLAVEMODE_DISABLE;
  if (HAL_TIMEx_MasterConfigSynchronization(&htim3, &sMasterConfig) != HAL_OK)
  {
    Error_Handler();
  }

}

static void MX_TIM14_Init(void)
{

  htim14.Instance = TIM14;
  htim14.Init.Prescaler = 3199;
  htim14.Init.CounterMode = TIM_COUNTERMODE_UP;
  htim14.Init.Period = 10;
  htim14.Init.ClockDivision = TIM_CLOCKDIVISION_DIV1;
  htim14.Init.AutoReloadPreload = TIM_AUTORELOAD_PRELOAD_DISABLE;
  if (HAL_TIM_Base_Init(&htim14) != HAL_OK)
  {
    Error_Handler();
  }

}

static void MX_TIM16_Init(void)
{

  htim16.Instance = TIM16;
  htim16.Init.Prescaler = 3199;
  htim16.Init.CounterMode = TIM_COUNTERMODE_UP;
  htim16.Init.Period = 10000;
  htim16.Init.ClockDivision = TIM_CLOCKDIVISION_DIV1;
  htim16.Init.RepetitionCounter = 0;
  htim16.Init.AutoReloadPreload = TIM_AUTORELOAD_PRELOAD_DISABLE;
  if (HAL_TIM_Base_Init(&htim16) != HAL_OK)
  {
    Error_Handler();
  }

}

static void MX_TIM17_Init(void)
{

  htim17.Instance = TIM17;
  htim17.Init.Prescaler = 3199;
  htim17.Init.CounterMode = TIM_COUNTERMODE_UP;
  htim17.Init.Period = 1000;
  htim17.Init.ClockDivision = TIM_CLOCKDIVISION_DIV1;
  htim17.Init.RepetitionCounter = 0;
  htim17.Init.AutoReloadPreload = TIM_AUTORELOAD_PRELOAD_DISABLE;
  if (HAL_TIM_Base_Init(&htim17) != HAL_OK)
  {
    Error_Handler();
  }

}

static void MX_GPIO_Init(void)
{
  GPIO_InitTypeDef GPIO_InitStruct = {0};

  /* GPIO Ports Clock Enable */
  __HAL_RCC_GPIOF_CLK_ENABLE();
  __HAL_RCC_GPIOA_CLK_ENABLE();
  __HAL_RCC_GPIOB_CLK_ENABLE();

  /*Configure GPIO pin Output Level */
  HAL_GPIO_WritePin(GPIOA, RST_Pin|LED_Pin|CS_Pin|EN_Pin, GPIO_PIN_RESET);

  /*Configure GPIO pin Output Level */
  HAL_GPIO_WritePin(DC_GPIO_Port, DC_Pin, GPIO_PIN_RESET);

  /*Configure GPIO pin : ON_Pin */
  GPIO_InitStruct.Pin = ON_Pin;
  GPIO_InitStruct.Mode = GPIO_MODE_INPUT;
  GPIO_InitStruct.Pull = GPIO_NOPULL;
  HAL_GPIO_Init(ON_GPIO_Port, &GPIO_InitStruct);

  /*Configure GPIO pins : BTN1_Pin BTN2_Pin */
  GPIO_InitStruct.Pin = BTN1_Pin|BTN2_Pin;
  GPIO_InitStruct.Mode = GPIO_MODE_INPUT;
  GPIO_InitStruct.Pull = GPIO_NOPULL;
  HAL_GPIO_Init(GPIOA, &GPIO_InitStruct);

  /*Configure GPIO pins : RST_Pin LED_Pin CS_Pin EN_Pin */
  GPIO_InitStruct.Pin = RST_Pin|LED_Pin|CS_Pin|EN_Pin;
  GPIO_InitStruct.Mode = GPIO_MODE_OUTPUT_PP;
  GPIO_InitStruct.Pull = GPIO_NOPULL;
  GPIO_InitStruct.Speed = GPIO_SPEED_FREQ_LOW;
  HAL_GPIO_Init(GPIOA, &GPIO_InitStruct);

  /*Configure GPIO pin : DC_Pin */
  GPIO_InitStruct.Pin = DC_Pin;
  GPIO_InitStruct.Mode = GPIO_MODE_OUTPUT_PP;
  GPIO_InitStruct.Pull = GPIO_NOPULL;
  GPIO_InitStruct.Speed = GPIO_SPEED_FREQ_LOW;
  HAL_GPIO_Init(DC_GPIO_Port, &GPIO_InitStruct);

}

void Error_Handler(void)
{
  __disable_irq();
  while (1)
  {
  }
}
